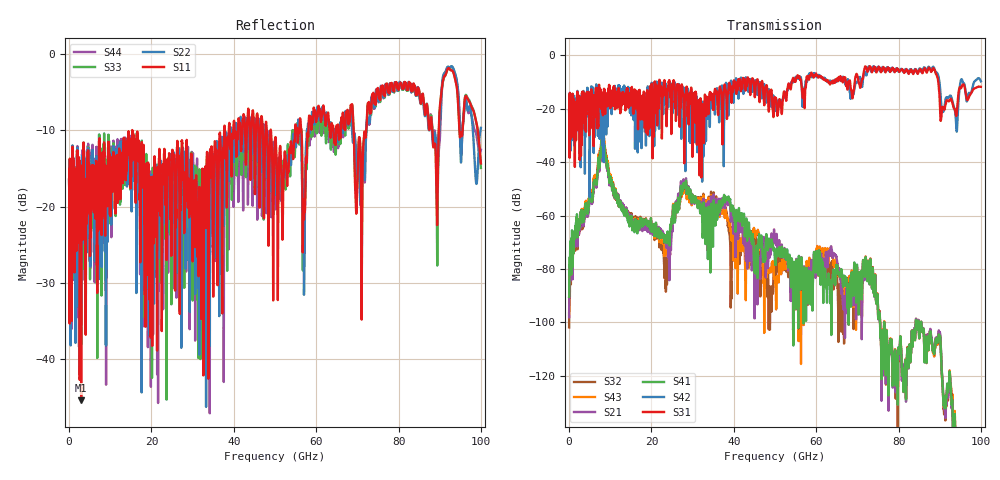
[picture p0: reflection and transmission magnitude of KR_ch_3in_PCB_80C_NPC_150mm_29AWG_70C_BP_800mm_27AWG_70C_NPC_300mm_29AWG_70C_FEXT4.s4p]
# GHz S RI R 45
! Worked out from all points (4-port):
!   4000 points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, 25 MHz to 100 GHz, reference 45 ohm
!   strongest paths, dB at 25 MHz, 25.02 GHz, 50.02 GHz, 75.03 GHz, 100 GHz:
!     S31: -20.6, -12.0, -15.9, -5.0, -11.8
!     S42: -20.7, -17.7, -18.0, -4.4, -9.7
!     S41: -90.5, -61.8, -77.7, -97.1, -184.4
!     S21: -98.1, -64.7, -69.9, -97.1, -180.1
!     S43: -97.1, -61.4, -85.0, -96.9, -178.8
!     S32: -101.9, -62.4, -80.1, -96.8, -177.4
!   lowest |S11| = -45.4 dB at 2.95 GHz (marker M1), VSWR 1.01, Z = 44.7 + j0.362 ohm
!   |S11| at or under -10 dB: start of sweep to 15.35 GHz; 15.35 GHz to 37.69 GHz (22.34 GHz wide, 84.2 % of centre); 49 GHz to 54.9 GHz (5.897 GHz wide, 11.4 % of centre)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
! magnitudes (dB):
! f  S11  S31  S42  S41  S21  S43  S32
! 25 MHz  -16.4  -20.6  -20.7  -90.5  -98.1  -97.1  -101.9
! 2.95 GHz  -45.4  -19.2  -22.2  -59.4  -60.8  -60.1  -62.0
! 8.225 GHz  -17.1  -22.5  -21.3  -30.7  -32.6  -28.9  -30.5
! 23.43 GHz  -18.8  -13.1  -11.2  -68.6  -69.9  -72.1  -79.6
! 28.02 GHz  -21.3  -23.4  -16.8  -49.8  -48.6  -51.4  -50.3
! 46.08 GHz  -12.0  -12.9  -10.9  -67.5  -78.8  -66.5  -83.9
! 100 GHz  -14.3  -11.8  -9.7  -184.4  -180.1  -178.8  -177.4
